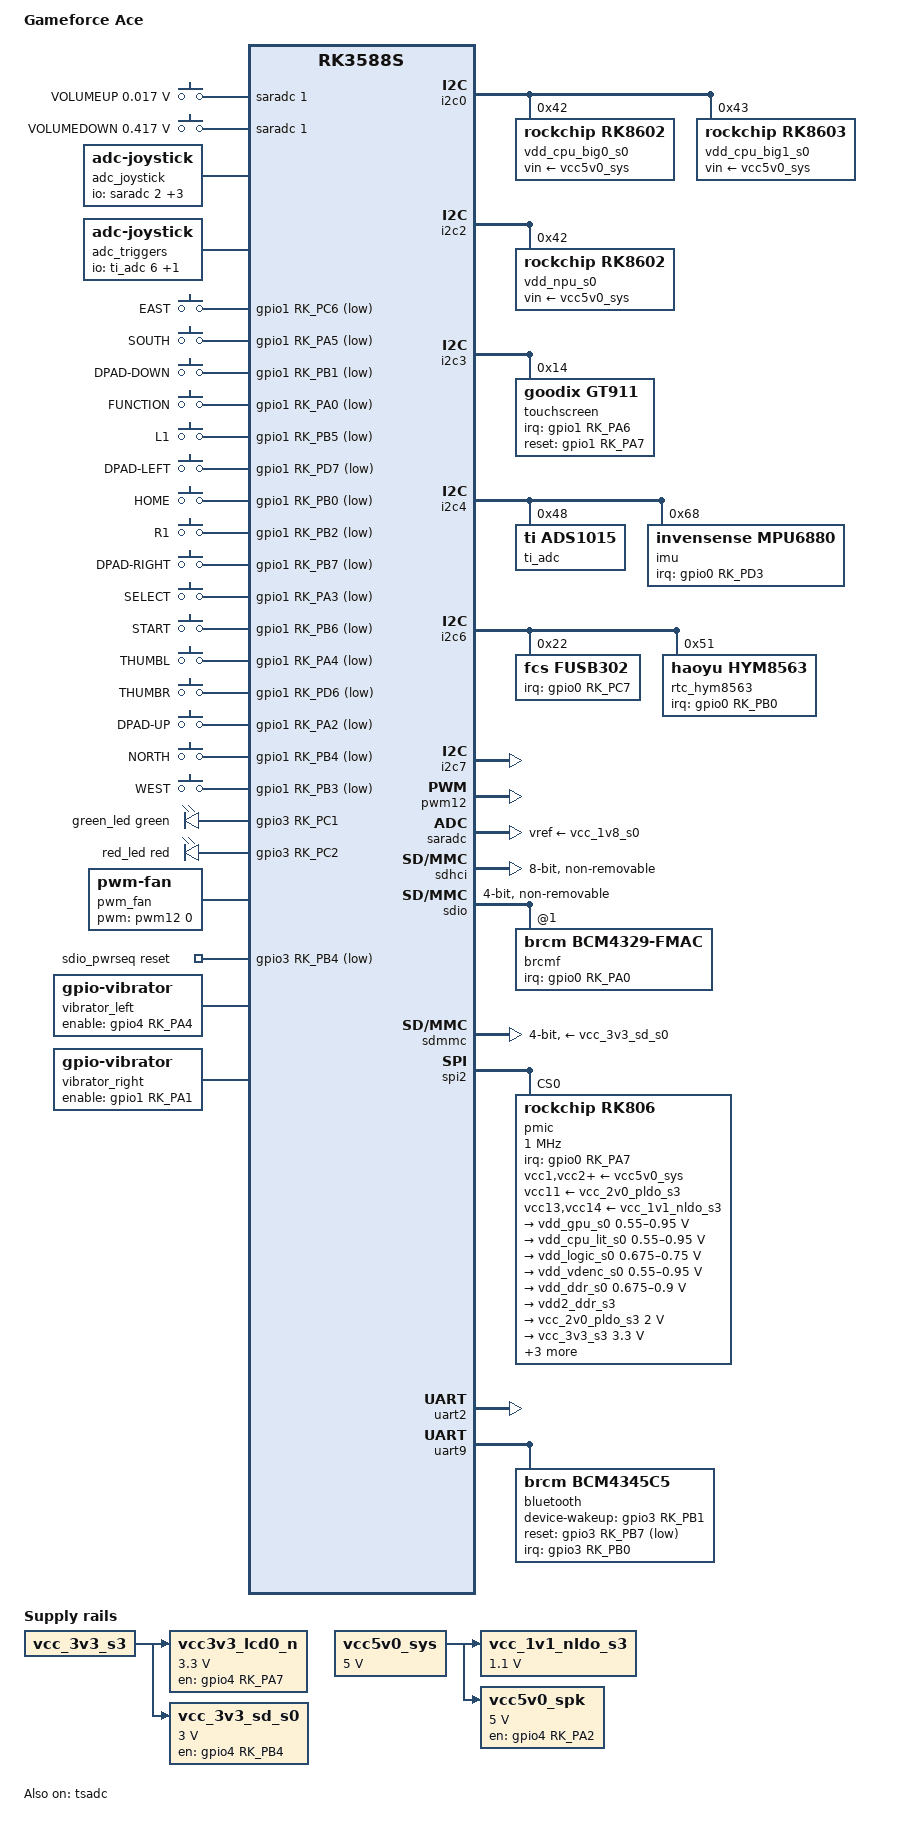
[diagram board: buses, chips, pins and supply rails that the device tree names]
// SPDX-License-Identifier: (GPL-2.0+ OR MIT)

/dts-v1/;

#include <dt-bindings/gpio/gpio.h>
#include <dt-bindings/input/linux-event-codes.h>
#include <dt-bindings/leds/common.h>
#include <dt-bindings/pinctrl/rockchip.h>
#include <dt-bindings/pwm/pwm.h>
#include <dt-bindings/thermal/thermal.h>
#include <dt-bindings/usb/pd.h>
#include "rk3588s.dtsi"

/ {
	model = "Gameforce Ace";
	compatible = "gameforce,ace", "rockchip,rk3588s";

	aliases {
		mmc0 = &sdhci;
		mmc1 = &sdmmc;
		mmc2 = &sdio;
	};

	chosen {
		stdout-path = "serial2:1500000n8";
	};

	adc_keys: adc-keys {
		compatible = "adc-keys";
		io-channels = <&saradc 1>;
		io-channel-names = "buttons";
		keyup-threshold-microvolt = <1800000>;
		poll-interval = <60>;

		button-vol-up {
			label = "VOLUMEUP";
			linux,code = <KEY_VOLUMEUP>;
			press-threshold-microvolt = <17000>;
		};

		button-vol-down {
			label = "VOLUMEDOWN";
			linux,code = <KEY_VOLUMEDOWN>;
			press-threshold-microvolt = <417000>;
		};
	};

	/* Joystick range values based on hardware observation. */
	adc_joystick: adc-joystick {
		compatible = "adc-joystick";
		#address-cells = <1>;
		io-channels = <&saradc 2>, <&saradc 3>,
			      <&saradc 4>, <&saradc 5>;
		poll-interval = <60>;
		#size-cells = <0>;

		axis@0 {
			reg = <0>;
			abs-flat = <40>;
			abs-fuzz = <30>;
			abs-range = <0 4095>;
			linux,code = <ABS_RX>;
		};

		axis@1 {
			reg = <1>;
			abs-flat = <40>;
			abs-fuzz = <30>;
			abs-range = <0 4095>;
			linux,code = <ABS_RY>;
		};

		axis@2 {
			reg = <2>;
			abs-flat = <40>;
			abs-fuzz = <30>;
			abs-range = <0 4095>;
			linux,code = <ABS_Y>;
		};

		axis@3 {
			reg = <3>;
			abs-flat = <40>;
			abs-fuzz = <30>;
			abs-range = <0 4095>;
			linux,code = <ABS_X>;
		};
	};

	/* Trigger range values based on hardware observation. */
	adc_triggers: adc-trigger {
		compatible = "adc-joystick";
		#address-cells = <1>;
		io-channels = <&ti_adc 6>,
			      <&ti_adc 7>;
		poll-interval = <60>;
		#size-cells = <0>;

		axis@0 {
			reg = <0>;
			abs-flat = <15>;
			abs-fuzz = <15>;
			abs-range = <890 1530>;
			linux,code = <ABS_HAT2X>;
		};

		axis@1 {
			reg = <1>;
			abs-flat = <15>;
			abs-fuzz = <15>;
			abs-range = <1010 1550>;
			linux,code = <ABS_HAT2Y>;
		};
	};

	gpio_keys_control: gpio-keys-control {
		compatible = "gpio-keys";
		pinctrl-0 = <&btn_pins_ctrl>;
		pinctrl-names = "default";

		button-a {
			gpios = <&gpio1 RK_PC6 GPIO_ACTIVE_LOW>;
			label = "EAST";
			linux,code = <BTN_EAST>;
		};

		button-b {
			gpios = <&gpio1 RK_PA5 GPIO_ACTIVE_LOW>;
			label = "SOUTH";
			linux,code = <BTN_SOUTH>;
		};

		button-down {
			gpios = <&gpio1 RK_PB1 GPIO_ACTIVE_LOW>;
			label = "DPAD-DOWN";
			linux,code = <BTN_DPAD_DOWN>;
		};

		button-home {
			gpios = <&gpio1 RK_PA0 GPIO_ACTIVE_LOW>;
			label = "FUNCTION";
			linux,code = <BTN_MODE>;
		};
			

		button-l1 {
			gpios = <&gpio1 RK_PB5 GPIO_ACTIVE_LOW>;
			label = "L1";
			linux,code = <BTN_TL>;
		};

		button-left {
			gpios = <&gpio1 RK_PD7 GPIO_ACTIVE_LOW>;
			label = "DPAD-LEFT";
			linux,code = <BTN_DPAD_LEFT>;
		};

		button-menu {
			gpios = <&gpio1 RK_PB0 GPIO_ACTIVE_LOW>;
			label = "HOME";
			linux,code = <KEY_HOME>;
		};

		button-r1 {
			gpios = <&gpio1 RK_PB2 GPIO_ACTIVE_LOW>;
			label = "R1";
			linux,code = <BTN_TR>;
		};

		button-right {
			gpios = <&gpio1 RK_PB7 GPIO_ACTIVE_LOW>;
			label = "DPAD-RIGHT";
			linux,code = <BTN_DPAD_RIGHT>;
		};

		button-select {
			gpios = <&gpio1 RK_PA3 GPIO_ACTIVE_LOW>;
			label = "SELECT";
			linux,code = <BTN_SELECT>;
		};

		button-start {
			gpios = <&gpio1 RK_PB6 GPIO_ACTIVE_LOW>;
			label = "START";
			linux,code = <BTN_START>;
		};

		button-thumbl {
			gpios = <&gpio1 RK_PA4 GPIO_ACTIVE_LOW>;
			label = "THUMBL";
			linux,code = <BTN_THUMBL>;
		};

		button-thumbr {
			gpios = <&gpio1 RK_PD6 GPIO_ACTIVE_LOW>;
			label = "THUMBR";
			linux,code = <BTN_THUMBR>;
		};

		button-up {
			gpios = <&gpio1 RK_PA2 GPIO_ACTIVE_LOW>;
			label = "DPAD-UP";
			linux,code = <BTN_DPAD_UP>;
		};

		button-x {
			gpios = <&gpio1 RK_PB4 GPIO_ACTIVE_LOW>;
			label = "NORTH";
			linux,code = <BTN_NORTH>;
		};

		button-y {
			gpios = <&gpio1 RK_PB3 GPIO_ACTIVE_LOW>;
			label = "WEST";
			linux,code = <BTN_WEST>;
		};
	};

	gpio_leds: gpio-leds {
		compatible = "gpio-leds";
		pinctrl-names = "default";
		pinctrl-0 = <&led_pins>;

		green_led: led-0 {
			color = <LED_COLOR_ID_GREEN>;
			gpios = <&gpio3 RK_PC1 GPIO_ACTIVE_HIGH>;
			function = LED_FUNCTION_STATUS;
		};

		red_led: led-1 {
			color = <LED_COLOR_ID_RED>;
			gpios = <&gpio3 RK_PC2 GPIO_ACTIVE_HIGH>;
			function = LED_FUNCTION_CHARGING;
		};
	};

	pwm_fan: pwm-fan {
		compatible = "pwm-fan";
		#cooling-cells = <2>;
		cooling-levels = <0 100 150 200 255>;
		pwms = <&pwm12 0 50000 PWM_POLARITY_INVERTED>;
	};

	sdio_pwrseq: sdio-pwrseq {
		compatible = "mmc-pwrseq-simple";
		clock-names = "ext_clock";
		clocks = <&rtc_hym8563>;
		pinctrl-0 = <&wifi_enable_h>;
		pinctrl-names = "default";
		post-power-on-delay-ms = <200>;
		power-off-delay-us = <10000>;
		reset-gpios = <&gpio3 RK_PB4 GPIO_ACTIVE_LOW>;
	};

	vcc_1v1_nldo_s3: vcc-1v1-nldo-s3-regulator {
		compatible = "regulator-fixed";
		regulator-always-on;
		regulator-boot-on;
		regulator-max-microvolt = <1100000>;
		regulator-min-microvolt = <1100000>;
		regulator-name = "vcc_1v1_nldo_s3";
		vin-supply = <&vcc5v0_sys>;
	};

	vcc3v3_lcd0_n: vcc3v3-lcd0-n-regulator {
		compatible = "regulator-fixed";
		enable-active-high;
		gpio = <&gpio4 RK_PA7 GPIO_ACTIVE_HIGH>;
		pinctrl-0 = <&vcc_lcd_h>;
		pinctrl-names = "default";
		regulator-boot-on;
		regulator-max-microvolt = <3300000>;
		regulator-min-microvolt = <3300000>;
		regulator-name = "vcc3v3_lcd0_n";
		vin-supply = <&vcc_3v3_s3>;
		regulator-state-mem {
			regulator-off-in-suspend;
		};
	};

	vcc_3v3_sd_s0: vcc-3v3-sd-s0-regulator {
		compatible = "regulator-fixed";
		enable-active-high;
		gpio = <&gpio4 RK_PB4 GPIO_ACTIVE_HIGH>;
		pinctrl-0 = <&sd_s0_pwr>;
		pinctrl-names = "default";
		regulator-always-on;
		regulator-max-microvolt = <3000000>;
		regulator-min-microvolt = <3000000>;
		regulator-name = "vcc_3v3_sd_s0";
		vin-supply = <&vcc_3v3_s3>;
	};

	vcc5v0_spk: vcc5v0-pa-regulator {
		compatible = "regulator-fixed";
		enable-active-high;
		gpio = <&gpio4 RK_PA2 GPIO_ACTIVE_HIGH>;
		pinctrl-0 = <&vcc5v0_spk_pwr>;
		pinctrl-names = "default";
		regulator-always-on;
		regulator-boot-on;
		regulator-max-microvolt = <5000000>;
		regulator-min-microvolt = <5000000>;
		regulator-name = "vcc5v0_spk";
		vin-supply = <&vcc5v0_sys>;
	};

	vcc5v0_sys: vcc5v0-sys-regulator {
		compatible = "regulator-fixed";
		regulator-always-on;
		regulator-boot-on;
		regulator-max-microvolt = <5000000>;
		regulator-min-microvolt = <5000000>;
		regulator-name = "vcc5v0_sys";
	};

	vibrator_left: vibrator-left {
		compatible = "gpio-vibrator";
		pinctrl-0 = <&vib_left_h>;
		pinctrl-names = "default";
		enable-gpios = <&gpio4 RK_PA4 GPIO_ACTIVE_HIGH>;
	};

	vibrator_right: vibrator-right {
		compatible = "gpio-vibrator";
		pinctrl-0 = <&vib_right_h>;
		pinctrl-names = "default";
		enable-gpios = <&gpio1 RK_PA1 GPIO_ACTIVE_HIGH>;
	};
};

&cpu_l0 {
	cpu-supply = <&vdd_cpu_lit_s0>;
};

&cpu_l1 {
	cpu-supply = <&vdd_cpu_lit_s0>;
};

&cpu_l2 {
	cpu-supply = <&vdd_cpu_lit_s0>;
};

&cpu_l3 {
	cpu-supply = <&vdd_cpu_lit_s0>;
};

&cpu_b0 {
	cpu-supply = <&vdd_cpu_big0_s0>;
};

&cpu_b1 {
	cpu-supply = <&vdd_cpu_big0_s0>;
};

&cpu_b2 {
	cpu-supply = <&vdd_cpu_big1_s0>;
};

&cpu_b3 {
	cpu-supply = <&vdd_cpu_big1_s0>;
};

&i2c0 {
	pinctrl-0 = <&i2c0m2_xfer>;
	pinctrl-names = "default";
	status = "okay";

	vdd_cpu_big0_s0: regulator@42 {
		compatible = "rockchip,rk8602";
		reg = <0x42>;
		regulator-always-on;
		regulator-boot-on;
		regulator-max-microvolt = <1050000>;
		regulator-min-microvolt = <550000>;
		regulator-name = "vdd_cpu_big0_s0";
		regulator-ramp-delay = <2300>;
		fcs,suspend-voltage-selector = <1>;
		vin-supply = <&vcc5v0_sys>;

		regulator-state-mem {
			regulator-off-in-suspend;
		};
	};

	vdd_cpu_big1_s0: regulator@43 {
		compatible = "rockchip,rk8603", "rockchip,rk8602";
		reg = <0x43>;
		regulator-always-on;
		regulator-boot-on;
		regulator-max-microvolt = <1050000>;
		regulator-min-microvolt = <550000>;
		regulator-name = "vdd_cpu_big1_s0";
		regulator-ramp-delay = <2300>;
		fcs,suspend-voltage-selector = <1>;
		vin-supply = <&vcc5v0_sys>;

		regulator-state-mem {
			regulator-off-in-suspend;
		};
	};
};

&i2c2 {
	status = "okay";

	vdd_npu_s0: regulator@42 {
		compatible = "rockchip,rk8602";
		reg = <0x42>;
		regulator-always-on;
		regulator-boot-on;
		regulator-max-microvolt = <950000>;
		regulator-min-microvolt = <550000>;
		regulator-name = "vdd_npu_s0";
		regulator-ramp-delay = <2300>;
		fcs,suspend-voltage-selector = <1>;
		vin-supply = <&vcc5v0_sys>;

		regulator-state-mem {
			regulator-off-in-suspend;
		};
	};
};

&i2c3 {
	status = "okay";

	touchscreen@14 {
		compatible = "goodix,gt911";
		reg = <0x14>;
		interrupt-parent = <&gpio1>;
		interrupts = <RK_PA6 IRQ_TYPE_LEVEL_LOW>;
		irq-gpios = <&gpio1 RK_PA6 GPIO_ACTIVE_HIGH>;
		pinctrl-0 = <&touch_int>, <&touch_rst>;
		pinctrl-names = "default";
		reset-gpios = <&gpio1 RK_PA7 GPIO_ACTIVE_HIGH>;
		touchscreen-inverted-x;
		touchscreen-size-x = <1080>;
		touchscreen-size-y = <1920>;
		touchscreen-swapped-x-y;
	};
};

&i2c4 {
	pinctrl-0 = <&i2c4m2_xfer>;
	status = "okay";

	ti_adc: adc@48 {
		compatible = "ti,ads1015";
		reg = <0x48>;
		#address-cells = <1>;
		#io-channel-cells = <1>;
		#size-cells = <0>;

		channel@4 {
			reg = <4>;
		};

		channel@5 {
			reg = <5>;
		};

		channel@6 {
			reg = <6>;
		};

		channel@7 {
			reg = <7>;
		};
	};

	imu@68 {
		compatible = "invensense,mpu6880";
		reg = <0x68>;
		interrupt-parent = <&gpio0>;
		interrupts = <RK_PD3 IRQ_TYPE_EDGE_RISING>;
	};
};

&i2c6 {
	pinctrl-0 = <&i2c6m3_xfer>;
	status = "okay";

	fusb302: typec-portc@22 {
		compatible = "fcs,fusb302";
		reg = <0x22>;
		interrupt-parent = <&gpio0>;
		interrupts = <RK_PC7 IRQ_TYPE_LEVEL_LOW>;
		pinctrl-0 = <&usbc0_int>;
		pinctrl-names = "default";

		connector {
			compatible = "usb-c-connector";
			data-role = "dual";
			label = "USB-C";
			power-role = "dual";
			try-power-role = "sink";
			source-pdos = <PDO_FIXED(5000, 3000, PDO_FIXED_USB_COMM)>;
			sink-pdos = <PDO_FIXED(5000, 1000, PDO_FIXED_USB_COMM)
				     PDO_FIXED(9000, 1000, PDO_FIXED_USB_COMM)
				     PDO_FIXED(12000, 1000, PDO_FIXED_USB_COMM)>;
			op-sink-microwatt = <1000000>;
		};
	};

	rtc_hym8563: rtc@51 {
		compatible = "haoyu,hym8563";
		reg = <0x51>;
		#clock-cells = <0>;
		clock-output-names = "hym8563";
		interrupt-parent = <&gpio0>;
		interrupts = <RK_PB0 IRQ_TYPE_LEVEL_LOW>;
		pinctrl-0 = <&hym8563_int>;
		pinctrl-names = "default";
		wakeup-source;
	};

	/* cw2015@62 which requires mainline driver changes. */

	/*  bq25703@6b which has no mainline driver. */
};

&i2c7 {
	pinctrl-0 = <&i2c7m0_xfer>;
	pinctrl-names = "default";
	status = "okay";
};

&pinctrl {
	bt {
		bt_enable_h: bt-enable-h {
			rockchip,pins =
				<3 RK_PB7 RK_FUNC_GPIO &pcfg_pull_none>;
		};

		bt_host_wake_l: bt-host-wake-l {
			rockchip,pins =
				<3 RK_PB0 RK_FUNC_GPIO &pcfg_pull_down>;
		};

		bt_wake_l: bt-wake-l {
			rockchip,pins =
				<3 RK_PB1 RK_FUNC_GPIO &pcfg_pull_up>;
		};
	};

	hym8563 {

		hym8563_int: hym8563-int {
			rockchip,pins =
				<0 RK_PB0 RK_FUNC_GPIO &pcfg_pull_up>;
		};
	};

	gpio-btns {
		btn_pins_ctrl: btn-pins-ctrl {
			rockchip,pins =
				<1 RK_PA0 RK_FUNC_GPIO &pcfg_pull_up>,
				<1 RK_PA2 RK_FUNC_GPIO &pcfg_pull_up>,
				<1 RK_PA3 RK_FUNC_GPIO &pcfg_pull_up>,
				<1 RK_PA4 RK_FUNC_GPIO &pcfg_pull_up>,
				<1 RK_PA5 RK_FUNC_GPIO &pcfg_pull_up>,
				<1 RK_PB0 RK_FUNC_GPIO &pcfg_pull_up>,
				<1 RK_PB1 RK_FUNC_GPIO &pcfg_pull_up>,
				<1 RK_PB2 RK_FUNC_GPIO &pcfg_pull_up>,
				<1 RK_PB3 RK_FUNC_GPIO &pcfg_pull_up>,
				<1 RK_PB4 RK_FUNC_GPIO &pcfg_pull_up>,
				<1 RK_PB5 RK_FUNC_GPIO &pcfg_pull_up>,
				<1 RK_PB6 RK_FUNC_GPIO &pcfg_pull_up>,
				<1 RK_PB7 RK_FUNC_GPIO &pcfg_pull_up>,
				<1 RK_PC6 RK_FUNC_GPIO &pcfg_pull_up>,
				<1 RK_PD6 RK_FUNC_GPIO &pcfg_pull_up>,
				<1 RK_PD7 RK_FUNC_GPIO &pcfg_pull_up>;
		};
	};

	gpio-leds {
		led_pins: led-pins {
			rockchip,pins =
				<3 RK_PC1 RK_FUNC_GPIO &pcfg_pull_up>,
				<3 RK_PC2 RK_FUNC_GPIO &pcfg_pull_up>;
		};
	};

	sd-pwr {
		sd_s0_pwr: sd-s0-pwr {
			rockchip,pins =
				<4 RK_PB4 RK_FUNC_GPIO &pcfg_pull_up>;
		};
	};

	spk-pwr {
		vcc5v0_spk_pwr: vcc5v0-spk-pwr {
			rockchip,pins =
				<4 RK_PA2 RK_FUNC_GPIO &pcfg_pull_up>;
		};
	};

	touch {
		touch_int: touch-int {
			rockchip,pins =
				<1 RK_PA6 RK_FUNC_GPIO &pcfg_pull_up>;
		};

		touch_rst: touch-rst {
			rockchip,pins =
				<1 RK_PA7 RK_FUNC_GPIO &pcfg_pull_up>;
		};
	};

	usb-typec {
		usbc0_int: usbc0-int {
			rockchip,pins =
				<0 RK_PC7 RK_FUNC_GPIO &pcfg_pull_up>;
		};
	};

	vcc3v3-lcd {
		vcc_lcd_h: vcc-lcd-h {
			rockchip,pins =
				<4 RK_PA7 RK_FUNC_GPIO &pcfg_pull_up>;
		};
	};

	vibrator {
		vib_left_h: vib-left-h {
			rockchip,pins =
				<4 RK_PA4 RK_FUNC_GPIO &pcfg_pull_up>;
		};

		vib_right_h: vib-right-h {
			rockchip,pins =
				<1 RK_PA1 RK_FUNC_GPIO &pcfg_pull_up>;
		};
	};

	wifi {
                wifi_enable_h: wifi-enable-h {
                        rockchip,pins =
                                <3 RK_PB4 RK_FUNC_GPIO &pcfg_pull_up>;
                };

		wifi_host_wake_irq: wifi-host-wake-irq {
			rockchip,pins =
				<0 RK_PA0 RK_FUNC_GPIO &pcfg_pull_down>;
		};
	};
};

&pwm12 {
	pinctrl-0 = <&pwm12m1_pins>;
	status = "okay";
};

&saradc {
	vref-supply = <&vcc_1v8_s0>;
	status = "okay";
};

&sdhci {
	bus-width = <8>;
	mmc-hs400-1_8v;
	mmc-hs400-enhanced-strobe;
	no-sd;
	no-sdio;
	non-removable;
	status = "okay";
};

&sdio {
	#address-cells = <1>;
	bus-width = <4>;
	cap-sd-highspeed;
	cap-sdio-irq;
	disable-wp;
	keep-power-in-suspend;
	max-frequency = <150000000>;
	mmc-pwrseq = <&sdio_pwrseq>;
	no-mmc;
	no-sd;
	non-removable;
	sd-uhs-sdr104;
	#size-cells = <0>;
	status = "okay";

	brcmf: wifi@1 {
		compatible = "brcm,bcm4329-fmac";
		reg = <1>;
		interrupt-parent = <&gpio0>;
		interrupts = <RK_PA0 IRQ_TYPE_LEVEL_HIGH>;
		interrupt-names = "host-wake";
		pinctrl-0 = <&wifi_host_wake_irq>;
		pinctrl-names = "default";
	};
};

&sdmmc {
	bus-width = <4>;
	cap-mmc-highspeed;
	cap-sd-highspeed;
	disable-wp;
	max-frequency = <150000000>;
	no-sdio;
	no-mmc;
	sd-uhs-sdr104;
	vmmc-supply = <&vcc_3v3_sd_s0>;
	vqmmc-supply = <&vccio_sd_s0>;
	status = "okay";
};

/*
 * Observed idle at approximately 38C. Thermal mass of heatsink
 * appears to require higher hysteresis.
 */
&soc_thermal {
	trips {
		cpu_warm: cpu-warm {
			temperature = <45000>;
			hysteresis = <10000>;
			type = "active";
		};

		cpu_hot: cpu-hot {
			temperature = <55000>;
			hysteresis = <10000>;
			type = "active";
		};
	};

	cooling-maps {
		map1 {
			trip = <&cpu_warm>;
			cooling-device = <&pwm_fan THERMAL_NO_LIMIT 1>;
		};

		map2 {
			trip = <&cpu_hot>;
			cooling-device = <&pwm_fan 2 THERMAL_NO_LIMIT>;
		};
	};
};

&spi2 {
	#address-cells = <1>;
	assigned-clocks = <&cru CLK_SPI2>;
	assigned-clock-rates = <200000000>;
	num-cs = <1>;
	pinctrl-0 = <&spi2m2_pins>, <&spi2m2_cs0>;
	pinctrl-names = "default";
	#size-cells = <0>;
	status = "okay";

	pmic@0 {
		compatible = "rockchip,rk806";
		reg = <0x0>;
		#gpio-cells = <2>;
		gpio-controller;
		interrupt-parent = <&gpio0>;
		interrupts = <RK_PA7 IRQ_TYPE_LEVEL_LOW>;
		pinctrl-0 = <&pmic_pins>, <&rk806_dvs1_null>,
			    <&rk806_dvs2_null>, <&rk806_dvs3_null>;
		pinctrl-names = "default";
		spi-max-frequency = <1000000>;

		vcc1-supply = <&vcc5v0_sys>;
		vcc2-supply = <&vcc5v0_sys>;
		vcc3-supply = <&vcc5v0_sys>;
		vcc4-supply = <&vcc5v0_sys>;
		vcc5-supply = <&vcc5v0_sys>;
		vcc6-supply = <&vcc5v0_sys>;
		vcc7-supply = <&vcc5v0_sys>;
		vcc8-supply = <&vcc5v0_sys>;
		vcc9-supply = <&vcc5v0_sys>;
		vcc10-supply = <&vcc5v0_sys>;
		vcc11-supply = <&vcc_2v0_pldo_s3>;
		vcc12-supply = <&vcc5v0_sys>;
		vcc13-supply = <&vcc_1v1_nldo_s3>;
		vcc14-supply = <&vcc_1v1_nldo_s3>;
		vcca-supply = <&vcc5v0_sys>;

		rk806_dvs1_null: dvs1-null-pins {
			pins = "gpio_pwrctrl1";
			function = "pin_fun0";
		};

		rk806_dvs2_null: dvs2-null-pins {
			pins = "gpio_pwrctrl2";
			function = "pin_fun0";
		};

		rk806_dvs3_null: dvs3-null-pins {
			pins = "gpio_pwrctrl3";
			function = "pin_fun0";
		};

		regulators {
			vdd_gpu_s0: dcdc-reg1 {
				regulator-boot-on;
				regulator-enable-ramp-delay = <400>;
				regulator-max-microvolt = <950000>;
				regulator-min-microvolt = <550000>;
				regulator-name = "vdd_gpu_s0";
				regulator-ramp-delay = <12500>;
				regulator-state-mem {
					regulator-off-in-suspend;
				};
			};

			vdd_cpu_lit_s0: dcdc-reg2 {
				regulator-always-on;
				regulator-boot-on;
				regulator-max-microvolt = <950000>;
				regulator-min-microvolt = <550000>;
				regulator-ramp-delay = <12500>;
				regulator-name = "vdd_cpu_lit_s0";
				regulator-state-mem {
					regulator-off-in-suspend;
				};
			};

			vdd_logic_s0: dcdc-reg3 {
				regulator-always-on;
				regulator-boot-on;
				regulator-max-microvolt = <750000>;
				regulator-min-microvolt = <675000>;
				regulator-name = "vdd_logic_s0";
				regulator-ramp-delay = <12500>;
				regulator-state-mem {
					regulator-on-in-suspend;
					regulator-suspend-microvolt = <750000>;
				};
			};

			vdd_vdenc_s0: dcdc-reg4 {
				regulator-always-on;
				regulator-boot-on;
				regulator-max-microvolt = <950000>;
				regulator-min-microvolt = <550000>;
				regulator-name = "vdd_vdenc_s0";
				regulator-ramp-delay = <12500>;
				regulator-state-mem {
					regulator-off-in-suspend;
				};
			};

			vdd_ddr_s0: dcdc-reg5 {
				regulator-always-on;
				regulator-boot-on;
				regulator-min-microvolt = <675000>;
				regulator-max-microvolt = <900000>;
				regulator-ramp-delay = <12500>;
				regulator-name = "vdd_ddr_s0";
				regulator-state-mem {
					regulator-off-in-suspend;
					regulator-suspend-microvolt = <850000>;
				};
			};

			vdd2_ddr_s3: dcdc-reg6 {
				regulator-always-on;
				regulator-boot-on;
				regulator-name = "vdd2_ddr_s3";
				regulator-state-mem {
					regulator-on-in-suspend;
				};
			};

			vcc_2v0_pldo_s3: dcdc-reg7 {
				regulator-always-on;
				regulator-boot-on;
				regulator-max-microvolt = <2000000>;
				regulator-min-microvolt = <2000000>;
				regulator-name = "vdd_2v0_pldo_s3";
				regulator-state-mem {
					regulator-on-in-suspend;
					regulator-suspend-microvolt = <2000000>;
				};
			};

			vcc_3v3_s3: dcdc-reg8 {
				regulator-always-on;
				regulator-boot-on;
				regulator-max-microvolt = <3300000>;
				regulator-min-microvolt = <3300000>;
				regulator-name = "vcc_3v3_s3";
				regulator-state-mem {
					regulator-on-in-suspend;
					regulator-suspend-microvolt = <3300000>;
				};
			};

			vddq_ddr_s0: dcdc-reg9 {
				regulator-always-on;
				regulator-boot-on;
				regulator-name = "vddq_ddr_s0";
				regulator-state-mem {
					regulator-off-in-suspend;
				};
			};

			vcc_1v8_s3: dcdc-reg10 {
				regulator-always-on;
				regulator-boot-on;
				regulator-max-microvolt = <1800000>;
				regulator-min-microvolt = <1800000>;
				regulator-name = "vcc_1v8_s3";
				regulator-state-mem {
					regulator-on-in-suspend;
					regulator-suspend-microvolt = <1800000>;
				};
			};

			avcc_1v8_s0: pldo-reg1 {
				regulator-always-on;
				regulator-boot-on;
				regulator-max-microvolt = <1800000>;
				regulator-min-microvolt = <1800000>;
				regulator-name = "avcc_1v8_s0";
				regulator-state-mem {
					regulator-off-in-suspend;
				};
			};

			vcc_1v8_s0: pldo-reg2 {
				regulator-always-on;
				regulator-boot-on;
				regulator-max-microvolt = <1800000>;
				regulator-min-microvolt = <1800000>;
				regulator-name = "vcc_1v8_s0";
				regulator-state-mem {
					regulator-off-in-suspend;
					regulator-suspend-microvolt = <1800000>;
				};
			};

			avdd_1v2_s0: pldo-reg3 {
				regulator-always-on;
				regulator-boot-on;
				regulator-max-microvolt = <1200000>;
				regulator-min-microvolt = <1200000>;
				regulator-name = "avdd_1v2_s0";
				regulator-state-mem {
					regulator-off-in-suspend;
				};
			};

			vcc_3v3_s0: pldo-reg4 {
				regulator-always-on;
				regulator-boot-on;
				regulator-max-microvolt = <3300000>;
				regulator-min-microvolt = <3300000>;
				regulator-name = "vcc_3v3_s0";
				regulator-state-mem {
					regulator-off-in-suspend;
				};
			};

			vccio_sd_s0: pldo-reg5 {
				regulator-always-on;
				regulator-boot-on;
				regulator-max-microvolt = <3300000>;
				regulator-min-microvolt = <1800000>;
				regulator-name = "vccio_sd_s0";
				regulator-state-mem {
					regulator-off-in-suspend;
				};
			};

			vcc_1v8_s3_pldo6: pldo-reg6 {
				regulator-always-on;
				regulator-boot-on;
				regulator-max-microvolt = <1800000>;
				regulator-min-microvolt = <1800000>;
				regulator-name = "vcc_1v8_s3_pldo6";
				regulator-state-mem {
					regulator-on-in-suspend;
					regulator-suspend-microvolt = <1800000>;
				};
			};

			vdd_0v75_s3: nldo-reg1 {
				regulator-always-on;
				regulator-boot-on;
				regulator-max-microvolt = <750000>;
				regulator-min-microvolt = <750000>;
				regulator-name = "vdd_0v75_s3";
				regulator-state-mem {
					regulator-on-in-suspend;
					regulator-suspend-microvolt = <750000>;
				};
			};

			vdd_ddr_pll_s0: nldo-reg2 {
				regulator-always-on;
				regulator-boot-on;
				regulator-max-microvolt = <850000>;
				regulator-min-microvolt = <850000>;
				regulator-name = "vdd_ddr_pll_s0";
				regulator-state-mem {
					regulator-off-in-suspend;
					regulator-suspend-microvolt = <850000>;
				};
			};

			avdd_0v75_s0: nldo-reg3 {
				regulator-always-on;
				regulator-boot-on;
				regulator-max-microvolt = <837500>;
				regulator-min-microvolt = <837500>;
				regulator-name = "avdd_0v75_s0";
				regulator-state-mem {
					regulator-off-in-suspend;
				};
			};

			vdd_0v85_s0: nldo-reg4 {
				regulator-always-on;
				regulator-boot-on;
				regulator-min-microvolt = <850000>;
				regulator-max-microvolt = <850000>;
				regulator-name = "vdd_0v85_s0";
				regulator-state-mem {
					regulator-off-in-suspend;
				};
			};

			vdd_0v75_s0: nldo-reg5 {
				regulator-always-on;
				regulator-boot-on;
				regulator-min-microvolt = <750000>;
				regulator-max-microvolt = <750000>;
				regulator-name = "vdd_0v75_s0";
				regulator-state-mem {
					regulator-off-in-suspend;
				};
			};
		};
	};
};

&tsadc {
	status = "okay";
};

&uart2 {
	pinctrl-0 = <&uart2m0_xfer>;
	status = "okay";
};

/* DMA appears to interfere with bluetooth operation. */
&uart9 {
	pinctrl-0 = <&uart9m2_xfer>, <&uart9m2_ctsn>, <&uart9m2_rtsn>;
	/delete-property/ dma-names;
	/delete-property/ dmas;
	uart-has-rtscts;
	status = "okay";

	bluetooth {
		compatible = "brcm,bcm4345c5";
		clocks = <&rtc_hym8563>;
		clock-names = "lpo";
		device-wakeup-gpios = <&gpio3 RK_PB1 GPIO_ACTIVE_HIGH>;
		interrupt-parent = <&gpio3>;
		interrupts = <RK_PB0 IRQ_TYPE_EDGE_FALLING>;
		pinctrl-0 = <&bt_enable_h>, <&bt_host_wake_l>, <&bt_wake_l>;
		pinctrl-names = "default";
		reset-gpios = <&gpio3 RK_PB7 GPIO_ACTIVE_LOW>;
	};	
};
